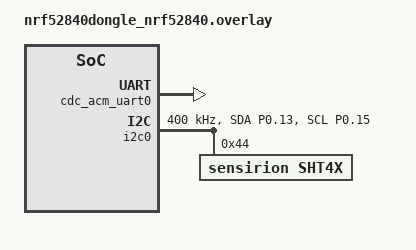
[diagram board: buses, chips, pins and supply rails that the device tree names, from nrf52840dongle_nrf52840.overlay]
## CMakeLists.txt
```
# SPDX-License-Identifier: Apache-2.0

cmake_minimum_required(VERSION 3.20.0)
find_package(Zephyr REQUIRED HINTS $ENV{ZEPHYR_BASE})
project(ot-sensor-sed)

FILE(GLOB app_sources src/*.c)
target_sources(app PRIVATE src/main.c)
```

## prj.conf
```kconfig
# OpenThread config
CONFIG_OPENTHREAD=y
CONFIG_OPENTHREAD_NORDIC_LIBRARY_FTD=n
CONFIG_OPENTHREAD_NORDIC_LIBRARY_MTD=y
CONFIG_OPENTHREAD_MTD=y
CONFIG_OPENTHREAD_MTD_SED=y
CONFIG_NET_L2_OPENTHREAD=y
CONFIG_NETWORKING=y
CONFIG_OPENTHREAD_POLL_PERIOD=3000

# Network Parameters
CONFIG_OPENTHREAD_MANUAL_START=n
# panid 0xFFFF all networks
CONFIG_OPENTHREAD_PANID=65535
CONFIG_OPENTHREAD_JOINER=y
CONFIG_OPENTHREAD_JOINER_AUTOSTART=y
# JOINER_PSKD Must be a string of all uppercase alphanumeric characters 
# (0-9 and A-Y, excluding I, O, Q, and Z for readability), with a length 
# between 6 and 32 characters.
CONFIG_OPENTHREAD_JOINER_PSKD="START123"
# This variant requires increased system workqueue stack size
CONFIG_SYSTEM_WORKQUEUE_STACK_SIZE=2048

# Network Shell
CONFIG_SHELL=y
CONFIG_OPENTHREAD_SHELL=y
CONFIG_SHELL_ARGC_MAX=26
CONFIG_SHELL_CMD_BUFF_SIZE=416

# Additional Parameters
CONFIG_MBEDTLS_SHA1_C=n
CONFIG_MBEDTLS_HEAP_SIZE=16384
#CONFIG_FPU=y

# USB Serial
CONFIG_SERIAL=y
CONFIG_CONSOLE=y
CONFIG_LOG=y
CONFIG_UART_CONSOLE=y
CONFIG_UART_INTERRUPT_DRIVEN=y
CONFIG_UART_LINE_CTRL=y
CONFIG_USB_DEVICE_STACK=y
CONFIG_USB_DEVICE_PRODUCT="OpenThread SED"

# Sensor
CONFIG_SENSOR=y
CONFIG_I2C=y
CONFIG_CBPRINTF_FP_SUPPORT=y

# power management
CONFIG_PM=y
CONFIG_PM_DEVICE=y
```

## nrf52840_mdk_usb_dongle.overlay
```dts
// Serial over USB
/*
&zephyr_udc0 {
	cdc_acm_uart0 {
		compatible = "zephyr,cdc-acm-uart";
	};
};
*/
/ {
	chosen {
			zephyr,shell-uart = &cdc_acm_uart0;
			//zephyr,console = &cdc_acm_uart0;
	};
};

&zephyr_udc0 {
	cdc_acm_uart0: cdc_acm_uart0 {
			compatible = "zephyr,cdc-acm-uart";
			label = "CDC_ACM_0";
	};
};
```

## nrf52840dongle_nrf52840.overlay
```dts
/ {
	chosen {
			zephyr,shell-uart = &cdc_acm_uart0;
			zephyr,i2c = &i2c0;
	};

}; 

// Serial over USB
&zephyr_udc0 {
	cdc_acm_uart0: cdc_acm_uart0 {
			compatible = "zephyr,cdc-acm-uart";
			label = "CDC_ACM_0";
	};
};

// remapping i2c0 pins to something useful
&pinctrl {
    i2c0_default: i2c0_default {
        group1 {
			psels = <NRF_PSEL(TWIM_SDA, 0, 13)>,
					<NRF_PSEL(TWIM_SCL, 0, 15)>;
			bias-disable;          
        };
    };
	i2c0_sleep: i2c0_sleep {
		group1 {
			psels = <NRF_PSEL(TWIM_SDA, 0, 13)>,
					<NRF_PSEL(TWIM_SCL, 0, 15)>;
			low-power-enable;
		};
	};
};

// activating the i2c0 bus and define the
// sht40 sensor in the device tree
&i2c0 {
	compatible = "nordic,nrf-twi";
	status = "okay";
	pinctrl-0 = <&i2c0_default>;
	pinctrl-1 = <&i2c0_sleep>;
	pinctrl-names = "default", "sleep";
	clock-frequency = <I2C_BITRATE_FAST>;
	sht4x@44 {
		status = "okay";
		compatible = "sensirion,sht4x";
		reg = <0x44>;
		repeatability = <2>;
	};
};
```

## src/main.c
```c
/*
 * OpenThread Sensor Node
 * Sleepy End Device
 */
#include <zephyr/kernel.h>
#include <zephyr/device.h>
#include <zephyr/devicetree.h>
#include <zephyr/drivers/sensor.h>
#include <zephyr/drivers/gpio.h>
#include <zephyr/drivers/sensor/sht4x.h>
#include <stdio.h>

#include <openthread/thread.h>
#include <openthread/udp.h>

#include <zephyr/pm/pm.h>
#include <zephyr/pm/device.h>

#define DEBUG
#ifdef DEBUG
	#include <zephyr/drivers/uart.h>
	#include <zephyr/usb/usb_device.h>
	#include <zephyr/logging/log.h>
	LOG_MODULE_REGISTER(cdc_acm_echo, LOG_LEVEL_INF);
#endif

// the devicetree node identifier for the "led1_green" alias
#define LED1_GREEN_NODE DT_ALIAS(led1_green)
static const struct gpio_dt_spec led_green = GPIO_DT_SPEC_GET(LED1_GREEN_NODE, gpios);

#if DT_NODE_HAS_STATUS(LED1_GREEN_NODE, okay)
	#define LED1_GREEN_PIN DT_GPIO_PIN(LED1_GREEN_NODE, gpios)
#endif

// the devicetree node identifier for the "led1_blue" alias
#define LED1_BLUE_NODE DT_ALIAS(led1_blue)
static const struct gpio_dt_spec led_blue = GPIO_DT_SPEC_GET(LED1_BLUE_NODE, gpios);

#if DT_NODE_HAS_STATUS(LED1_BLUE_NODE, okay)
	#define LED1_GREEN_PIN DT_GPIO_PIN(LED1_BLUE_NODE, gpios)
#endif

#define SLEEP_TIME 10

//-----------------------------
void udp_send(char *buf)
//-----------------------------
{
	otError ot_error = OT_ERROR_NONE;
	
	// fetch OpenThread instance and udp_socket
	otInstance *ot_instance;
	ot_instance = openthread_get_default_instance();
	otUdpSocket udp_socket;

	// prepare the message, target address and target port
	otMessageInfo message_info;
	memset(&message_info, 0, sizeof(message_info));
	// ff03::1 is the IPv6 mesh local multicast address
	otIp6AddressFromString("ff03::1", &message_info.mPeerAddr);
	message_info.mPeerPort = 1234;

	// send the message
	do {
		ot_error = otUdpOpen(ot_instance, &udp_socket, NULL, NULL);
		if (ot_error != OT_ERROR_NONE) { 
			#ifdef DEBUG
				LOG_ERR("could not open udp port");
			#endif
			break; 
		}

		otMessage *json_message = otUdpNewMessage(ot_instance, NULL);
		ot_error = otMessageAppend(json_message, buf, (uint16_t)strlen(buf));
		if (ot_error != OT_ERROR_NONE) { 
			#ifdef DEBUG
				LOG_ERR("could not append message");
			#endif
			break; 
		}

		ot_error = otUdpSend(ot_instance, &udp_socket, json_message, &message_info);
		if (ot_error != OT_ERROR_NONE) { 
			#ifdef DEBUG
				LOG_ERR("could not send udp message");
			#endif
			break; 
		}

		ot_error = otUdpClose(ot_instance, &udp_socket);
	} while(false);

	#ifdef DEBUG
		if (ot_error == OT_ERROR_NONE) { 
			LOG_INF("udp message sent");
		}
	#endif
}

//-----------------------------
void main(void)
//-----------------------------
{
	char json_buf[100];
	int err;

	uint8_t eui64[8];
	char eui64_id[17];
	char buf[3];

	#ifdef DEBUG
		err = gpio_pin_configure_dt(&led_green, GPIO_OUTPUT_HIGH);
		err = gpio_pin_set_dt(&led_green, 1);
		k_sleep(K_MSEC(500));

		const struct device *usbdev = DEVICE_DT_GET(DT_CHOSEN(zephyr_console));

		if (usb_enable(NULL)) {
			LOG_ERR("Failed to enable USB");
			return;
		}

		err = gpio_pin_set_dt(&led_green, 0);
		LOG_INF("--- ot-sensor-sed ---\n");
	#endif

	//-------------------------------------
	// fetch OpenThread instance and EUI64
	//-------------------------------------
	otInstance *ot_instance;
	ot_instance = openthread_get_default_instance();
	otPlatRadioGetIeeeEui64(ot_instance, eui64);

	// convert EUI64 to hex string
	for (int i=0; i < 8; i++) {
		snprintf(buf, sizeof(buf),"%0X",eui64[i]);
		strcat(eui64_id,buf);
	}

	// set TX power to +8dbm
	err = otPlatRadioSetTransmitPower(ot_instance, 8);

	// check if we are connected to a network
	int device_state = otThreadGetDeviceRole(ot_instance);
	while ((device_state == OT_DEVICE_ROLE_DETACHED)
			||(device_state == OT_DEVICE_ROLE_DISABLED)) {
		err = gpio_pin_configure_dt(&led_blue, GPIO_OUTPUT_HIGH);
		err = gpio_pin_set_dt(&led_blue, 1);
		k_sleep(K_MSEC(1000));
		device_state = otThreadGetDeviceRole(ot_instance);
	}
	err = gpio_pin_set_dt(&led_blue, 0);

	//-----------------------------
	// init SHT40 sensor
	//-----------------------------
	const struct device *const sht = DEVICE_DT_GET_ANY(sensirion_sht4x);
	
	if (!device_is_ready(sht)) {
		#ifdef DEBUG
			LOG_ERR("Device %s is not ready.\n", sht->name);
		#endif
		return;
	}
	#ifdef DEBUG
		LOG_INF("SHT40 Sensor started");
	#endif

	//-----------------------------
	// main loop
	//-----------------------------
	while (true) {

		//------------------------------------
		// take measurement
		//------------------------------------
		struct sensor_value temp, humidity;

		if (sensor_sample_fetch(sht)) {
			#ifdef DEBUG
				LOG_ERR("Failed to fetch sample from SHT4X device\n");
			#endif
			return;
		}
		sensor_channel_get(sht, SENSOR_CHAN_AMBIENT_TEMP, &temp);
		sensor_channel_get(sht, SENSOR_CHAN_HUMIDITY, &humidity);

		//------------------------------------
		// construct json message
		//------------------------------------
		snprintf(json_buf, sizeof(json_buf),
			"{ \"id\": \"%s\", \"temp\": %d.%d, \"hum\": %d.%d }",
			eui64_id, temp.val1, temp.val2, humidity.val1, humidity.val2);

		#ifdef DEBUG
			LOG_INF("JSON message: %s",json_buf);
		#endif

		//------------------------------------
		// broadcast udp message 
		// -- only if we are connected
		//------------------------------------
		if(OT_DEVICE_ROLE_CHILD == otThreadGetDeviceRole(ot_instance)) {
			udp_send(json_buf);
		}
		else {
			#ifdef DEBUG
				LOG_ERR("not connected to a network, message not sent");
			#endif
		}
		// clear json buffer
		json_buf[0] = "\0";

		//------------------------------------
		// go to sleep
		//------------------------------------
		// suspend SHT40 sensor and USB
		#ifdef DEBUG
			err = pm_device_action_run(usbdev, PM_DEVICE_ACTION_SUSPEND);
		#endif
		err = pm_device_action_run(sht, PM_DEVICE_ACTION_SUSPEND);
		k_sleep(K_SECONDS(SLEEP_TIME));
		err = pm_device_action_run(sht, PM_DEVICE_ACTION_RESUME);
		#ifdef DEBUG
			err = pm_device_action_run(usbdev, PM_DEVICE_ACTION_RESUME);
		#endif
	}
}
```
